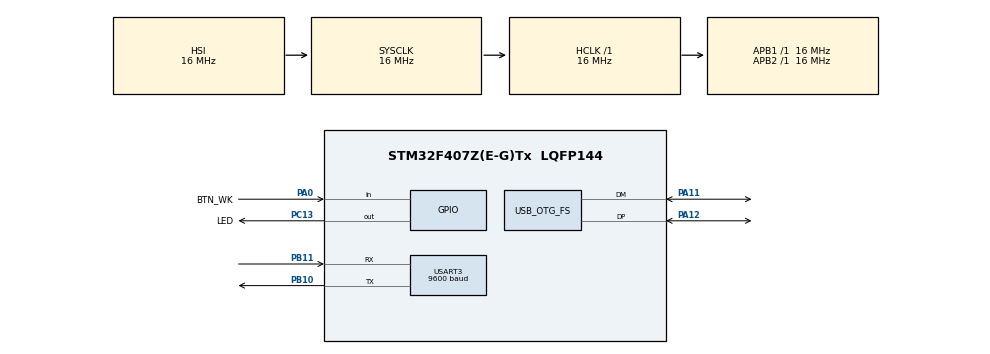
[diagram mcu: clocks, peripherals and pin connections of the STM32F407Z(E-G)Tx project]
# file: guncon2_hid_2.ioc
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Dma.Request0=USART3_RX
Dma.Request1=USART3_TX
Dma.USART3_RX.0.Direction=DMA_PERIPH_TO_MEMORY
Dma.USART3_RX.0.FIFOMode=DMA_FIFOMODE_DISABLE
Dma.USART3_RX.0.Instance=DMA1_Stream1
Dma.USART3_RX.0.MemDataAlignment=DMA_MDATAALIGN_BYTE
Dma.USART3_RX.0.MemInc=DMA_MINC_ENABLE
Dma.USART3_RX.0.Mode=DMA_NORMAL
Dma.USART3_RX.0.PeriphDataAlignment=DMA_PDATAALIGN_BYTE
Dma.USART3_RX.0.PeriphInc=DMA_PINC_DISABLE
Dma.USART3_RX.0.Priority=DMA_PRIORITY_LOW
Dma.USART3_TX.1.Direction=DMA_MEMORY_TO_PERIPH
Dma.USART3_TX.1.FIFOMode=DMA_FIFOMODE_DISABLE
Dma.USART3_TX.1.Instance=DMA1_Stream3
Dma.USART3_TX.1.MemDataAlignment=DMA_MDATAALIGN_BYTE
Dma.USART3_TX.1.MemInc=DMA_MINC_ENABLE
Dma.USART3_TX.1.Mode=DMA_NORMAL
Dma.USART3_TX.1.PeriphDataAlignment=DMA_PDATAALIGN_BYTE
Dma.USART3_TX.1.PeriphInc=DMA_PINC_DISABLE
Dma.USART3_TX.1.Priority=DMA_PRIORITY_LOW
Mcu.Family=STM32F4
Mcu.Name=STM32F407Z(E-G)Tx
Mcu.Package=LQFP144
NVIC.DMA1_Stream1_IRQn=true\:0\:0\:false\:false\:true\:false\:true
NVIC.DMA1_Stream3_IRQn=true\:0\:0\:false\:false\:true\:false\:true
NVIC.OTG_FS_IRQn=true\:0\:0\:false\:false\:true\:false\:true
NVIC.PriorityGroup=NVIC_PRIORITYGROUP_4
NVIC.USART3_IRQn=true\:0\:0\:false\:false\:true\:true\:true
PA0-WKUP.GPIO_Label=BTN_WK
PA0-WKUP.Signal=GPIO_Input
PA11.Mode=Device_Only
PA11.Signal=USB_OTG_FS_DM
PA12.Mode=Device_Only
PA12.Signal=USB_OTG_FS_DP
PA13.Mode=JTAG_5_pins
PA13.Signal=SYS_JTMS-SWDIO
PA14.Mode=JTAG_5_pins
PA14.Signal=SYS_JTCK-SWCLK
PA15.Mode=JTAG_5_pins
PA15.Signal=SYS_JTDI
PB10.Mode=Asynchronous
PB10.Signal=USART3_TX
PB11.Mode=Asynchronous
PB11.Signal=USART3_RX
PB3.Mode=JTAG_5_pins
PB3.Signal=SYS_JTDO-SWO
PB4.Mode=JTAG_5_pins
PB4.Signal=SYS_JTRST
PC13-ANTI_TAMP.GPIO_Label=LED
PC13-ANTI_TAMP.Signal=GPIO_Output
PH0-OSC_IN.Mode=HSE-External-Oscillator
PH0-OSC_IN.Signal=RCC_OSC_IN
PH1-OSC_OUT.Mode=HSE-External-Oscillator
PH1-OSC_OUT.Signal=RCC_OSC_OUT
ProjectManager.HeapSize=0x200
ProjectManager.StackSize=0x400
ProjectManager.TargetToolchain=STM32CubeIDE
RCC.48MHZClocksFreq_Value=48000000
RCC.AHBFreq_Value=16000000
RCC.APB1Freq_Value=16000000
RCC.APB2Freq_Value=16000000
RCC.CortexFreq_Value=16000000
RCC.HSE_VALUE=12000000
RCC.HSI_VALUE=16000000
RCC.LSE_VALUE=32768
RCC.PLLM=6
RCC.PLLN=72
RCC.PLLQ=3
RCC.SYSCLKFreq_VALUE=16000000
RCC.VCOOutputFreq_Value=144000000
USART3.BaudRate=9600
USART3.VirtualMode=VM_ASYNC
USB_DEVICE.CLASS_NAME_FS=HID
USB_DEVICE.VirtualMode-HID_FS=Hid
USB_DEVICE.VirtualModeFS=Hid_FS
USB_OTG_FS.VirtualMode=Device_Only
VP_USB_DEVICE_VS_USB_DEVICE_HID_FS.Mode=HID_FS
board=custom

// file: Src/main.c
/* USER CODE BEGIN Header */
/**
  ******************************************************************************
  * @file           : main.c
  * @brief          : Main program body
  ******************************************************************************
  * @attention
  *
  * <h2><center>&copy; Copyright (c) 2019 STMicroelectronics.
  * All rights reserved.</center></h2>
  *
  * This software component is licensed by ST under BSD 3-Clause license,
  * the "License"; You may not use this file except in compliance with the
  * License. You may obtain a copy of the License at:
  *                        opensource.org/licenses/BSD-3-Clause
  *
  ******************************************************************************
  */
/* USER CODE END Header */

#include "main.h"
#include "usb_device.h"
#include "guncon2.h"

UART_HandleTypeDef huart3;
DMA_HandleTypeDef hdma_usart3_rx;
DMA_HandleTypeDef hdma_usart3_tx;

/* USER CODE BEGIN PV */
extern uint8_t uart3_timeout_error;
/* USER CODE END PV */

void SystemClock_Config(void);
static void MX_GPIO_Init(void);
static void MX_DMA_Init(void);
static void MX_USART3_UART_Init(void);

/* USER CODE BEGIN 0 */
#define JOYSTICK_REPORT_SIZE 8
uint8_t joystick[JOYSTICK_REPORT_SIZE]={0xFF,0xFE,0,0,0,0,0,0};
uint8_t ms;

extern USBD_HandleTypeDef hUsbDeviceFS;
extern struct GUNCON2 gcon;

uint8_t data_recived=0;

#define RX_BUFF_SIZE 10

extern uint8_t next_point;
extern uint16_t offsets_mode[3];
uint16_t x=120,y=32767-120;
uint16_t btn;
uint8_t progressive=0;

uint8_t RX_BUFF[11];

uint8_t cad_init[]="Iniciado... \r\n";
/* USER CODE END 0 */

uint32_t ticks_ms;
uint8_t out_screen[8]={0xFF,0xDF,0,0,0,0,0,0};
int main(void) {
	/* USER CODE BEGIN 1 */
	uint16_t data_to_send;
	uint8_t send_cad[255];
	static uint8_t calibration_count=0;
	/* USER CODE END 1 */

	/* MCU Configuration--------------------------------------------------------*/

	/* Reset of all peripherals, Initializes the Flash interface and the Systick. */
	HAL_Init();

	/* Configure the system clock */
	SystemClock_Config();

	/* Initialize all configured peripherals */
	MX_GPIO_Init();
	MX_DMA_Init();
	MX_USART3_UART_Init();
	MX_USB_DEVICE_Init();
	/* USER CODE BEGIN 2 */
	HAL_UART_Transmit_DMA(&huart3, cad_init, 14);
	HAL_UART_Receive_DMA(&huart3, (uint8_t *) RX_BUFF, 7);
	ticks_ms = HAL_GetTick();
	HAL_GPIO_WritePin(LED_GPIO_Port, LED_Pin, RESET);
	/* USER CODE END 2 */

	/* Infinite loop */
	while (1) {

		/* USER CODE BEGIN 3 */

		if (uart3_timeout_error)
		{
			//reiniciar recepción DMA

			//	HAL_UART_Receive_DMA(&huart3, (uint8_t *) RX_BUFF, 8);
			uart3_timeout_error = 0;
		}
		if (data_recived)
		{
			data_recived=0;
			gcon_save_data(RX_BUFF);
			data_to_send = sprintf(send_cad, "echo: %04d %04d %04x \r\n",
					gcon.x, gcon.y, gcon.btn);
			HAL_UART_Transmit_DMA(&huart3, send_cad, data_to_send);
		}

			//send every 8 ms
			if ((HAL_GetTick() - ticks_ms) > 8)
			{
				ticks_ms = HAL_GetTick();
				if((gcon.calibration==0)&&(calibration_count==0))
				{
					calibration_count=0;
				USBD_HID_SendReport(&hUsbDeviceFS, gcon.buffer,
						JOYSTICK_REPORT_SIZE);

				}
				else
				{

					if(calibration_count++<8)
					{

						USBD_HID_SendReport(&hUsbDeviceFS, gcon.buffer,
												JOYSTICK_REPORT_SIZE);

					}
					else
					{
						HAL_GPIO_TogglePin(LED_GPIO_Port, LED_Pin);

						USBD_HID_SendReport(&hUsbDeviceFS, out_screen,JOYSTICK_REPORT_SIZE);
						if(calibration_count>20){calibration_count=0;}
					}
				}
			}

		//---------------------
	}
	/* USER CODE END 3 */
}

void SystemClock_Config(void)
{
  RCC_OscInitTypeDef RCC_OscInitStruct = {0};
  RCC_ClkInitTypeDef RCC_ClkInitStruct = {0};

  /** Configure the main internal regulator output voltage
  */
  __HAL_RCC_PWR_CLK_ENABLE();
  __HAL_PWR_VOLTAGESCALING_CONFIG(PWR_REGULATOR_VOLTAGE_SCALE1);
  /** Initializes the CPU, AHB and APB busses clocks
  */
  RCC_OscInitStruct.OscillatorType = RCC_OSCILLATORTYPE_HSI|RCC_OSCILLATORTYPE_HSE;
  RCC_OscInitStruct.HSEState = RCC_HSE_ON;
  RCC_OscInitStruct.HSIState = RCC_HSI_ON;
  RCC_OscInitStruct.HSICalibrationValue = RCC_HSICALIBRATION_DEFAULT;
  RCC_OscInitStruct.PLL.PLLState = RCC_PLL_ON;
  RCC_OscInitStruct.PLL.PLLSource = RCC_PLLSOURCE_HSE;
  RCC_OscInitStruct.PLL.PLLM = 6;
  RCC_OscInitStruct.PLL.PLLN = 72;
  RCC_OscInitStruct.PLL.PLLP = RCC_PLLP_DIV2;
  RCC_OscInitStruct.PLL.PLLQ = 3;
  if (HAL_RCC_OscConfig(&RCC_OscInitStruct) != HAL_OK)
  {
    Error_Handler();
  }
  /** Initializes the CPU, AHB and APB busses clocks
  */
  RCC_ClkInitStruct.ClockType = RCC_CLOCKTYPE_HCLK|RCC_CLOCKTYPE_SYSCLK
                              |RCC_CLOCKTYPE_PCLK1|RCC_CLOCKTYPE_PCLK2;
  RCC_ClkInitStruct.SYSCLKSource = RCC_SYSCLKSOURCE_HSI;
  RCC_ClkInitStruct.AHBCLKDivider = RCC_SYSCLK_DIV1;
  RCC_ClkInitStruct.APB1CLKDivider = RCC_HCLK_DIV1;
  RCC_ClkInitStruct.APB2CLKDivider = RCC_HCLK_DIV1;

  if (HAL_RCC_ClockConfig(&RCC_ClkInitStruct, FLASH_LATENCY_0) != HAL_OK)
  {
    Error_Handler();
  }
}

static void MX_USART3_UART_Init(void)
{

  huart3.Instance = USART3;
  huart3.Init.BaudRate = 115200;
  huart3.Init.WordLength = UART_WORDLENGTH_8B;
  huart3.Init.StopBits = UART_STOPBITS_1;
  huart3.Init.Parity = UART_PARITY_NONE;
  huart3.Init.Mode = UART_MODE_TX_RX;
  huart3.Init.HwFlowCtl = UART_HWCONTROL_NONE;
  huart3.Init.OverSampling = UART_OVERSAMPLING_16;
  if (HAL_UART_Init(&huart3) != HAL_OK)
  {
    Error_Handler();
  }
  /* USER CODE BEGIN USART3_Init 2 */
  __HAL_UART_ENABLE_IT(&huart3,UART_IT_IDLE);
  /* USER CODE END USART3_Init 2 */

}

static void MX_DMA_Init(void)
{
  /* DMA controller clock enable */
  __HAL_RCC_DMA1_CLK_ENABLE();

  /* DMA interrupt init */
  /* DMA1_Stream1_IRQn interrupt configuration */
  HAL_NVIC_SetPriority(DMA1_Stream1_IRQn, 0, 0);
  HAL_NVIC_EnableIRQ(DMA1_Stream1_IRQn);
  /* DMA1_Stream3_IRQn interrupt configuration */
  HAL_NVIC_SetPriority(DMA1_Stream3_IRQn, 0, 0);
  HAL_NVIC_EnableIRQ(DMA1_Stream3_IRQn);

}

static void MX_GPIO_Init(void)
{
  GPIO_InitTypeDef GPIO_InitStruct = {0};

  /* GPIO Ports Clock Enable */
  __HAL_RCC_GPIOC_CLK_ENABLE();
  __HAL_RCC_GPIOH_CLK_ENABLE();
  __HAL_RCC_GPIOA_CLK_ENABLE();
  __HAL_RCC_GPIOB_CLK_ENABLE();

  /*Configure GPIO pin Output Level */
  HAL_GPIO_WritePin(LED_GPIO_Port, LED_Pin, GPIO_PIN_RESET);

  /*Configure GPIO pin : LED_Pin */
  GPIO_InitStruct.Pin = LED_Pin;
  GPIO_InitStruct.Mode = GPIO_MODE_OUTPUT_PP;
  GPIO_InitStruct.Pull = GPIO_NOPULL;
  GPIO_InitStruct.Speed = GPIO_SPEED_FREQ_LOW;
  HAL_GPIO_Init(LED_GPIO_Port, &GPIO_InitStruct);

  /*Configure GPIO pin : BTN_WK_Pin */
  GPIO_InitStruct.Pin = BTN_WK_Pin;
  GPIO_InitStruct.Mode = GPIO_MODE_INPUT;
  GPIO_InitStruct.Pull = GPIO_NOPULL;
  HAL_GPIO_Init(BTN_WK_GPIO_Port, &GPIO_InitStruct);

}

/* USER CODE BEGIN 4 */
/**
  * @brief  Tx Transfer completed callback
  * @param  huart: UART handle.
  * @note   This example shows a simple way to report end of DMA Tx transfer, and
  *         you can add your own implementation.
  * @retval None
  */
void HAL_UART_TxCpltCallback(UART_HandleTypeDef *huart)
{
  /* Turn LED1 on: Transfer in transmission process is correct */

}

/**
  * @brief  Rx Transfer completed callback
  * @param  huart: UART handle
  * @note   This example shows a simple way to report end of DMA Rx transfer, and
  *         you can add your own implementation.
  * @retval None
  */
void HAL_UART_RxCpltCallback(UART_HandleTypeDef *huart)
{
  /* Turn LED2 on: Transfer in reception process is correct */

	data_recived=1;
}

/* USER CODE END 4 */

void Error_Handler(void)
{
}

/************************ (C) COPYRIGHT STMicroelectronics *****END OF FILE****/
